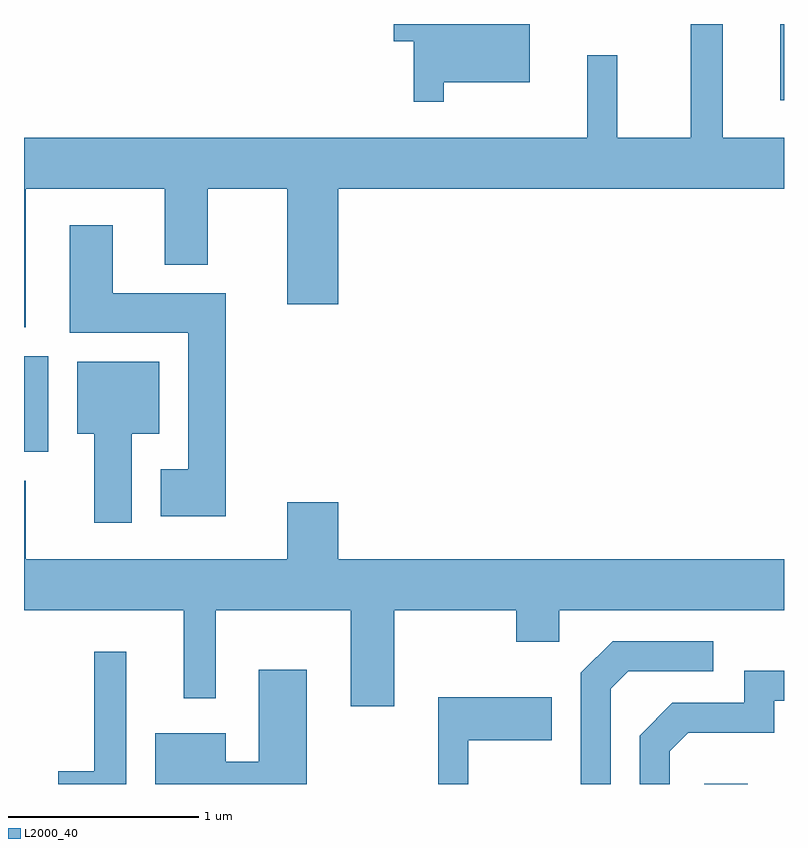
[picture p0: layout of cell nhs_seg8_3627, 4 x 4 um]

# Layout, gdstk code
import gdstk
lib = gdstk.Library(unit=1e-6, precision=1e-09)
def R(c, l, rs):  # rectangles x0, y0, x1, y1
    for r in rs: c.add(gdstk.rectangle(r[:2], r[2:], *l))
def P(c, l, *ps):  # polygons
    for p in ps: c.add(gdstk.Polygon(p, *l))
L2000_40 = (2000, 40)

nhs_seg8_3627 = lib.new_cell('nhs_seg8_3627')
R(nhs_seg8_3627, L2000_40, [(297.191,1884.342,297.419,1884.344), (293.611,1886.091,293.739,1886.594), (297.591,1887.941,297.611,1888.342)])
P(nhs_seg8_3627, L2000_40, [(295.819,1888.036),(296.274,1888.036),(296.274,1888.342),(295.556,1888.342),(295.556,1888.251),(295.661,1888.251),(295.661,1887.933),(295.819,1887.933)],
  [(293.619,1887.476),(294.351,1887.476),(294.351,1887.076),(294.579,1887.076),(294.579,1887.476),(294.996,1887.476),(294.996,1886.866),(295.264,1886.866),(295.264,1887.476),(297.611,1887.476),(297.611,1887.744),(297.289,1887.744),(297.289,1888.342),(297.121,1888.342),(297.121,1887.744),(296.734,1887.744),(296.734,1888.178),(296.576,1888.178),(296.576,1887.744),(293.611,1887.744),(293.611,1886.746),(293.619,1886.746)],
  [(294.674,1886.924),(294.079,1886.924),(294.079,1887.284),(293.851,1887.284),(293.851,1886.716),(294.476,1886.716),(294.476,1885.999),(294.331,1885.999),(294.331,1885.751),(294.674,1885.751)],
  [(294.179,1886.186),(294.324,1886.186),(294.324,1886.564),(293.891,1886.564),(293.891,1886.186),(293.981,1886.186),(293.981,1885.716),(294.179,1885.716)],
  [(295.559,1885.256),(296.201,1885.256),(296.201,1885.091),(296.429,1885.091),(296.429,1885.256),(297.611,1885.256),(297.611,1885.524),(295.264,1885.524),(295.264,1885.824),(294.996,1885.824),(294.996,1885.524),(293.619,1885.524),(293.619,1885.939),(293.611,1885.939),(293.611,1885.256),(294.451,1885.256),(294.451,1884.793),(294.619,1884.793),(294.619,1885.256),(295.331,1885.256),(295.331,1884.751),(295.559,1884.751)],
  [(296.699,1884.844),(296.792,1884.936),(297.238,1884.936),(297.238,1885.094),(296.709,1885.094),(296.541,1884.927),(296.541,1884.342),(296.699,1884.342)],
  [(294.149,1885.038),(293.981,1885.038),(293.981,1884.409),(293.791,1884.409),(293.791,1884.342),(294.149,1884.342)],
  [(295.099,1884.944),(294.846,1884.944),(294.846,1884.459),(294.674,1884.459),(294.674,1884.609),(294.301,1884.609),(294.301,1884.342),(295.099,1884.342)],
  [(297.009,1884.514),(297.107,1884.611),(297.559,1884.611),(297.559,1884.781),(297.611,1884.781),(297.611,1884.939),(297.401,1884.939),(297.401,1884.769),(297.024,1884.769),(296.851,1884.597),(296.851,1884.342),(297.009,1884.342)],
  [(295.949,1884.571),(296.389,1884.571),(296.389,1884.799),(295.791,1884.799),(295.791,1884.342),(295.949,1884.342)])

lib.write_gds('nhs_seg8_3627.gds')
